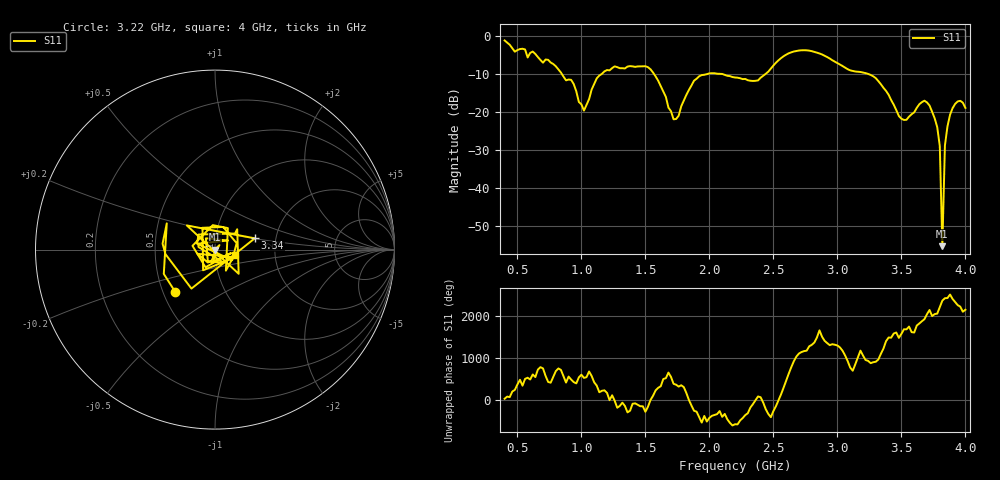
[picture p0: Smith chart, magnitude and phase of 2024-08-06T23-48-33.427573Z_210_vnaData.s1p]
!Created with skrf (http://scikit-rf.org).
# Hz S RI R 50.0
!freq ReS11 ImS11
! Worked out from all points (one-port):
!   181 points, 400 MHz to 4 GHz, reference 50 ohm
!   lowest |S11| = -55.4 dB at 3.82 GHz (marker M1), VSWR 1.00, Z = 49.8 - j0.065 ohm
!   |S11| at or under -10 dB: 1.567 GHz to 1.988 GHz (421.2 MHz wide, 23.7 % of centre); 2.081 GHz to 2.44 GHz (358.9 MHz wide, 15.9 % of centre); 3.239 GHz to end of sweep (the widest 3 of 4)
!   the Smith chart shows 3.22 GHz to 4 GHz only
!   S11 on the Smith chart (normalised r, x): 3.22 GHz: 0.58, -0.31; 3.34 GHz: 1.55, +0.21; 4 GHz: 1.24, -0.07
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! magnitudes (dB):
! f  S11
! 400 MHz  -1.2
! 740 MHz  -6.3
! 860 MHz  -10.7
! 940 MHz  -12.7
! 1.02 GHz  -19.7
! 1.12 GHz  -11.2
! 1.3 GHz  -8.5
! 1.52 GHz  -8.2
! 1.6 GHz  -11.8
! 1.72 GHz  -22.0
! 1.76 GHz  -21.0
! 1.92 GHz  -10.6
! 2.2 GHz  -11.0
! 2.38 GHz  -11.7
! 2.66 GHz  -4.1
! 3.1 GHz  -9.1
! 3.22 GHz  -9.8
! 3.34 GHz  -12.7
! 3.48 GHz  -21.1
! 3.56 GHz  -21.3
! 3.68 GHz  -17.1
! 3.78 GHz  -24.1
! 3.8 GHz  -29.0
! 3.82 GHz  -55.4
! 3.84 GHz  -28.9
! 3.86 GHz  -23.8
! 3.92 GHz  -17.9
! 4 GHz  -19.0
